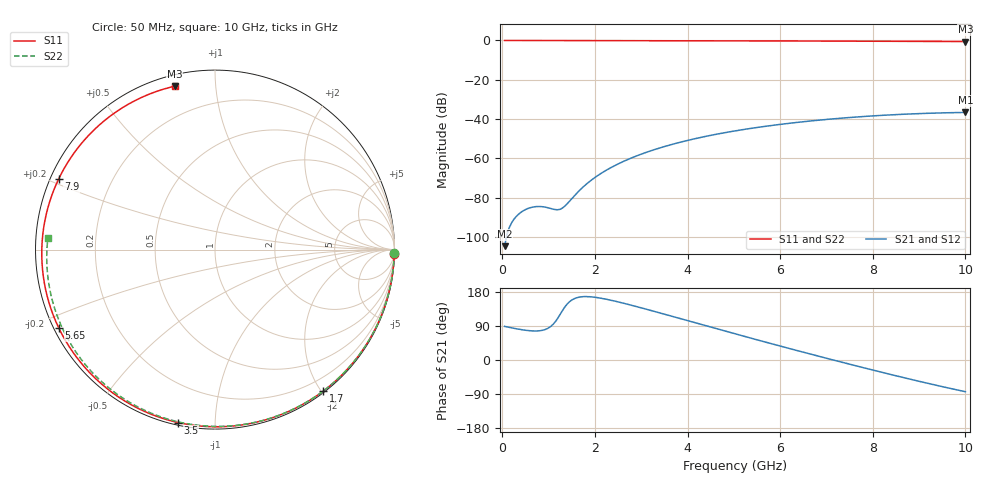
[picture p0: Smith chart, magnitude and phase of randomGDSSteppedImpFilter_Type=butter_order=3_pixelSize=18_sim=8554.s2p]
! freq	dB(S11)	phase(S11)	dB(S12)	phase(S12)
!  dB(S21)	phase(S21)	dB(S22)	phase(S22)
!S-par simulation data
#  GHz  S  DB  R 50
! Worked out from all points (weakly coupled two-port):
!   200 points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, 50 MHz to 10 GHz, reference 50 ohm
!   highest |S21| = -36.66 dB at 10 GHz (marker M1); lowest = -104.8 dB at 50 MHz (marker M2)
!   lowest |S11| = -0.6 dB at 10 GHz (marker M3), VSWR 31.09, Z = 2.59 + j39.1 ohm
!   |S11| at or under -10 dB: nowhere
!   |S22| runs from -0.6 to 0.0 dB; largest |S21 - S12| = 0
!   S11 on the Smith chart (normalised r, x): 50 MHz: 1, -74; 1.7 GHz: 0.02, -2.02; 3.5 GHz: 0.01, -0.81; 5.65 GHz: 0.01, -0.24; 7.9 GHz: 0.02, +0.21; 10 GHz: 0.05, +0.78
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0.05  -0.00 -1.5  -104.77 88.7  -104.77 88.7  -0.00 -1.0
0.4  -0.02 -12.7  -87.57 80.4  -87.57 80.4  -0.01 -8.3
0.75  -0.03 -23.7  -84.59 76.6  -84.59 76.6  -0.02 -15.5
1.5  -0.06 -46.7  -80.57 158.3  -80.57 158.3  -0.04 -30.9
1.55  -0.06 -48.2  -79.25 161.6  -79.25 161.6  -0.04 -31.9
1.7  -0.07 -52.7  -75.61 166.7  -75.61 166.7  -0.04 -34.9
1.75  -0.07 -54.1  -74.52 167.2  -74.52 167.2  -0.05 -35.9
2.05  -0.08 -62.9  -68.98 164.7  -68.98 164.7  -0.05 -41.9
2.45  -0.09 -74.2  -63.48 154.8  -63.48 154.8  -0.06 -49.7
2.9  -0.11 -86.5  -58.80 140.9  -58.80 140.9  -0.08 -58.4
3.4  -0.12 -99.6  -54.74 124.3  -54.74 124.3  -0.09 -67.9
3.5  -0.13 -102.2  -54.04 120.9  -54.04 120.9  -0.09 -69.8
4.25  -0.16 -120.7  -49.57 95.4  -49.57 95.4  -0.12 -83.6
5.05  -0.20 -139.6  -45.97 68.3  -45.97 68.3  -0.15 -97.8
5.65  -0.23 -153.3  -43.82 48.3  -43.82 48.3  -0.18 -108.2
6.2  -0.26 -165.7  -42.18 30.3  -42.18 30.3  -0.21 -117.6
6.7  -0.30 -176.9  -40.90 14.2  -40.90 14.2  -0.25 -126.1
7.3  -0.34 169.5  -39.62 -4.9  -39.62 -4.9  -0.29 -136.2
7.9  -0.39 155.7  -38.57 -23.5  -38.57 -23.5  -0.35 -146.4
8.35  -0.43 145.1  -37.94 -37.1  -37.94 -37.1  -0.39 -154.1
9.25  -0.50 123.1  -37.05 -63.3  -37.05 -63.3  -0.50 -170.1
10  -0.56 103.9  -36.66 -83.7  -36.66 -83.7  -0.60 176.0
